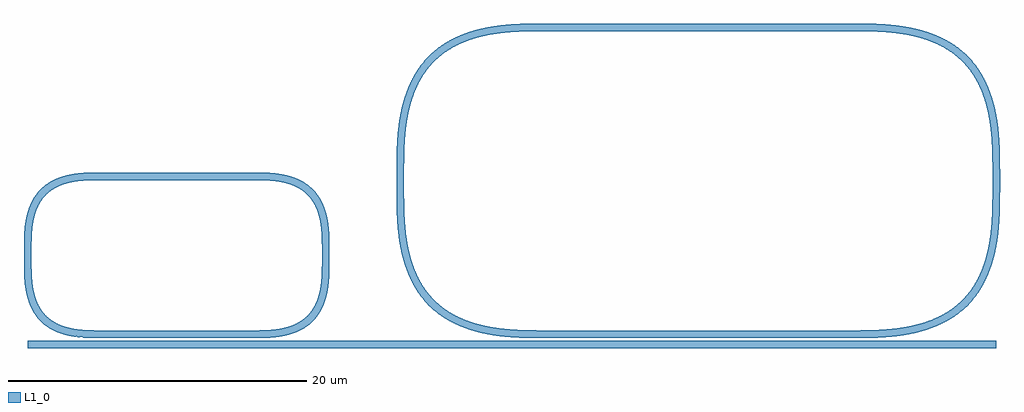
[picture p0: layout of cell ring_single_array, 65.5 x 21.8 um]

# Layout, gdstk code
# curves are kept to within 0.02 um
from math import pi, radians
import gdstk
lib = gdstk.Library(unit=1e-6, precision=1e-09)
def R(c, l, rs):  # rectangles x0, y0, x1, y1
    for r in rs: c.add(gdstk.rectangle(r[:2], r[2:], *l))
def P(c, l, *ps):  # polygons
    for p in ps: c.add(gdstk.Polygon(p, *l))
L1_0 = (1, 0)

coupler_ring_bendbend_e_ = lib.new_cell('coupler_ring_bendbend_e_2db77f6d')
R(coupler_ring_bendbend_e_, L1_0, [(-15,-0.25,-10,0.25), (-10,-0.25,0,0.25), (0,-0.25,5,0.25), (-10,0.45,0,0.95)])
P(coupler_ring_bendbend_e_, L1_0, [(-10,0.45),(-11.429,0.492),(-12.032,0.571),(-12.489,0.673),(-12.96,0.829),(-13.392,1.031),(-13.797,1.291),(-14.107,1.557),(-14.409,1.903),(-14.669,2.308),(-14.871,2.74),(-15.027,3.211),(-15.129,3.668),(-15.208,4.271),(-15.25,5.7),(-14.75,5.7),(-14.712,4.338),(-14.567,3.428),(-14.422,2.965),(-14.241,2.567),(-14.047,2.255),(-13.801,1.959),(-13.497,1.691),(-13.133,1.459),(-12.756,1.286),(-12.315,1.144),(-11.856,1.048),(-11.362,0.988),(-10,0.95)],
  [(0,0.45),(1.429,0.492),(2.032,0.571),(2.489,0.673),(2.96,0.829),(3.392,1.031),(3.797,1.291),(4.107,1.557),(4.409,1.903),(4.669,2.308),(4.871,2.74),(5.027,3.211),(5.129,3.668),(5.208,4.271),(5.25,5.7),(4.75,5.7),(4.712,4.338),(4.567,3.428),(4.422,2.965),(4.241,2.567),(4.047,2.255),(3.801,1.959),(3.497,1.691),(3.133,1.459),(2.756,1.286),(2.315,1.144),(1.856,1.048),(1.362,0.988),(0,0.95)])

straight_cross_sectionc_ = lib.new_cell('straight_cross_sectionc_14dffc3c')
R(straight_cross_sectionc_, L1_0, [(0,-0.25,0.6,0.25)])

bend_euler_cross_sectio_ = lib.new_cell('bend_euler_cross_sectio_42ae4dc0')
P(bend_euler_cross_sectio_, L1_0, [(0,-0.25),(1.429,-0.208),(2.032,-0.129),(2.489,-0.027),(2.96,0.129),(3.392,0.331),(3.797,0.591),(4.107,0.857),(4.409,1.203),(4.669,1.608),(4.871,2.04),(5.027,2.511),(5.129,2.968),(5.208,3.571),(5.25,5),(4.75,5),(4.712,3.638),(4.567,2.728),(4.422,2.265),(4.241,1.867),(4.047,1.555),(3.801,1.259),(3.497,0.991),(3.133,0.759),(2.756,0.586),(2.315,0.444),(1.856,0.348),(1.362,0.288),(0,0.25)])

c_straight_cross_sectionc_ = lib.new_cell('straight_cross_sectionc_74a84bee')
R(c_straight_cross_sectionc_, L1_0, [(0,-0.25,10,0.25)])

ring_single_length_x10_r = lib.new_cell('ring_single_length_x10_radius5')
ring_single_length_x10_r.add(gdstk.Reference(coupler_ring_bendbend_e_, (0,0)))
ring_single_length_x10_r.add(gdstk.Reference(straight_cross_sectionc_, (-15,5.7), rotation=pi/2))
ring_single_length_x10_r.add(gdstk.Reference(straight_cross_sectionc_, (5,6.3), rotation=3*pi/2))
ring_single_length_x10_r.add(gdstk.Reference(bend_euler_cross_sectio_, (-10,11.3), rotation=pi))
ring_single_length_x10_r.add(gdstk.Reference(bend_euler_cross_sectio_, (5,6.3), rotation=pi/2))
ring_single_length_x10_r.add(gdstk.Reference(c_straight_cross_sectionc_, (0,11.3), rotation=pi))

c_coupler_ring_bendbend_e_ = lib.new_cell('coupler_ring_bendbend_e_57f4e162')
R(c_coupler_ring_bendbend_e_, L1_0, [(-30,-0.25,-20,0.25), (-20,-0.25,0,0.25), (0,-0.25,10,0.25), (-20,0.45,0,0.95)])
P(c_coupler_ring_bendbend_e_, L1_0, [(-20,0.45),(-21.602,0.465),(-22.93,0.542),(-23.973,0.68),(-24.865,0.875),(-25.829,1.191),(-26.664,1.582),(-27.404,2.053),(-28.073,2.627),(-28.647,3.296),(-29.118,4.036),(-29.509,4.871),(-29.825,5.835),(-30.02,6.727),(-30.158,7.77),(-30.235,9.098),(-30.25,10.7),(-29.75,10.7),(-29.731,8.972),(-29.651,7.725),(-29.494,6.633),(-29.213,5.526),(-28.921,4.763),(-28.591,4.119),(-28.163,3.485),(-27.751,3.013),(-27.215,2.537),(-26.581,2.109),(-25.937,1.779),(-25.217,1.501),(-24.247,1.242),(-22.975,1.049),(-21.728,0.969),(-20,0.95)],
  [(0,0.45),(1.602,0.465),(2.93,0.542),(3.973,0.68),(4.865,0.875),(5.829,1.191),(6.664,1.582),(7.404,2.053),(8.073,2.627),(8.647,3.296),(9.118,4.036),(9.509,4.871),(9.825,5.835),(10.02,6.727),(10.158,7.77),(10.235,9.098),(10.25,10.7),(9.75,10.7),(9.731,8.972),(9.651,7.725),(9.494,6.633),(9.213,5.526),(8.921,4.763),(8.591,4.119),(8.163,3.485),(7.751,3.013),(7.215,2.537),(6.581,2.109),(5.937,1.779),(5.217,1.501),(4.247,1.242),(2.975,1.049),(1.728,0.969),(0,0.95)])

c_bend_euler_cross_sectio_ = lib.new_cell('bend_euler_cross_sectio_2b3226cd')
P(c_bend_euler_cross_sectio_, L1_0, [(0,-0.25),(1.602,-0.235),(2.93,-0.158),(3.973,-0.02),(4.865,0.175),(5.829,0.491),(6.664,0.882),(7.404,1.353),(8.073,1.927),(8.647,2.596),(9.118,3.336),(9.509,4.171),(9.825,5.135),(10.02,6.027),(10.158,7.07),(10.235,8.398),(10.25,10),(9.75,10),(9.731,8.272),(9.651,7.025),(9.494,5.933),(9.213,4.826),(8.921,4.063),(8.591,3.419),(8.163,2.785),(7.751,2.313),(7.215,1.837),(6.581,1.409),(5.937,1.079),(5.217,0.801),(4.247,0.542),(2.975,0.349),(1.728,0.269),(0,0.25)])

c_straight_cross_sectionc__ = lib.new_cell('straight_cross_sectionc_7da930e0')
R(c_straight_cross_sectionc__, L1_0, [(0,-0.25,20,0.25)])

ring_single_length_x20_r = lib.new_cell('ring_single_length_x20_radius10')
ring_single_length_x20_r.add(gdstk.Reference(c_coupler_ring_bendbend_e_, (0,0)))
ring_single_length_x20_r.add(gdstk.Reference(straight_cross_sectionc_, (-30,10.7), rotation=pi/2))
ring_single_length_x20_r.add(gdstk.Reference(straight_cross_sectionc_, (10,11.3), rotation=3*pi/2))
ring_single_length_x20_r.add(gdstk.Reference(c_bend_euler_cross_sectio_, (-20,21.3), rotation=pi))
ring_single_length_x20_r.add(gdstk.Reference(c_bend_euler_cross_sectio_, (10,11.3), rotation=pi/2))
ring_single_length_x20_r.add(gdstk.Reference(c_straight_cross_sectionc__, (0,21.3), rotation=pi))

straight_length5 = lib.new_cell('straight_length5')
R(straight_length5, L1_0, [(0,-0.25,5,0.25)])

ring_single_array = lib.new_cell('ring_single_array')
ring_single_array.add(gdstk.Reference(ring_single_length_x10_r, (0,0)))
ring_single_array.add(gdstk.Reference(ring_single_length_x20_r, (40,0)))
ring_single_array.add(gdstk.Reference(straight_length5, (5,0)))

lib.write_gds('ring_single_array.gds')
